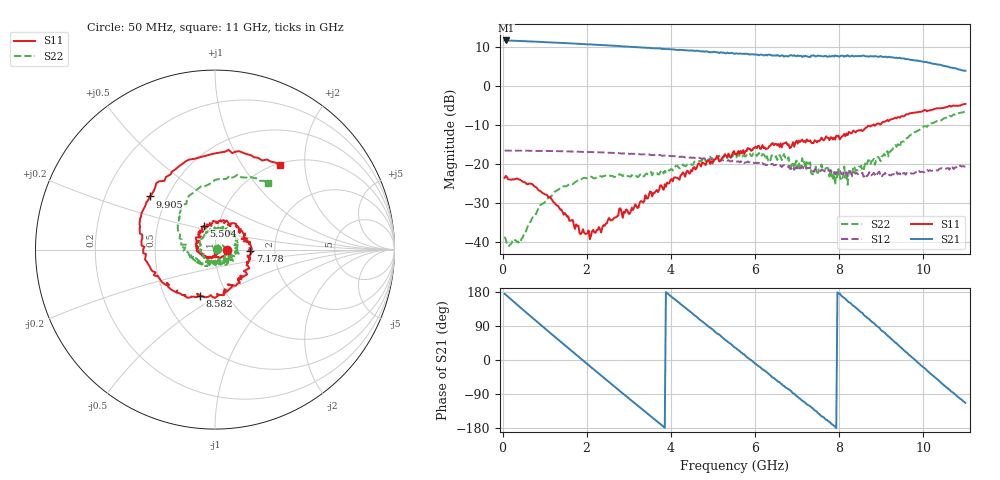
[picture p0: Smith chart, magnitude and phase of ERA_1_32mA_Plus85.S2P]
! Mini-Circuits
! S2P DATA File Format
! Type: MMIC Amplifier
! Model: ERA-1  Reference Data:RDF-960
! Note: All S Parameters are in dB deg format
! TEST CONDITIONS: INPUT POWER = -15dBm, Icc = 32mA, Vd = 3.21V @Temperature = +85degC
# MHz S DB R 50
!  FREQ  dB(S11)  PHS(S11)  dB(S21)  PHS(S21)  dB(S12)  PHS(S12)  dB(S22)  PHS(S22)
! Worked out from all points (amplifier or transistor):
!   401 points, 50 MHz to 11 GHz, reference 50 ohm
!   highest |S21| = 11.8 dB at 77 MHz (marker M1)
!   |S21| within 3 dB of that: start of sweep to 4.922 GHz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
!   unconditionally stable (mu >= 1): start of sweep to end of sweep
!   at 1.832 GHz: K = 1.24, MAG = 11.0 dB, |S12| = -16.9 dB
!   at 5.45 GHz: K = 1.82, MAG = 8.7 dB, |S12| = -19.3 dB
!   at 11 GHz: K = 1.74, MAG = 7.3 dB, |S12| = -20.6 dB
!   S11 on the Smith chart (normalised r, x): 50 MHz: 1.14, -0.01; 5.504 GHz: 0.85, +0.23; 7.178 GHz: 1.49, -0.02; 8.582 GHz: 0.74, -0.41; 9.905 GHz: 0.40, +0.30; 11 GHz: 1.04, +1.50
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50  -23.59 -2.2  11.77 174.7  -16.55 -4.3  -38.77 5.7
77  -23.11 -3.0  11.80 172.3  -16.57 -6.1  -39.45 10.5
536  -24.74 -42.5  11.63 128.1  -16.60 -39.6  -37.88 62.1
941  -27.41 -72.8  11.41 89.6  -16.66 -69.4  -30.29 53.2
1454  -33.09 -92.0  11.15 41.6  -16.76 -107.3  -25.75 23.7
1886  -37.66 -75.9  10.88 1.4  -16.88 -139.1  -23.88 -9.6
2777  -31.52 -63.2  10.33 -80.7  -17.27 154.6  -22.64 -81.7
3209  -31.38 -82.3  10.08 -119.9  -17.49 123.0  -23.38 -124.1
3722  -26.75 -109.8  9.79 -166.5  -17.73 85.3  -22.70 -167.6
4154  -23.59 -147.3  9.34 155.0  -18.20 53.0  -20.48 150.5
4667  -19.82 -176.0  9.10 108.4  -18.38 15.3  -19.30 117.7
5504  -16.70 115.0  8.36 34.3  -19.13 -47.2  -17.20 60.7
5531  -17.48 113.9  8.41 32.7  -19.31 -48.7  -17.84 56.2
6287  -16.04 56.2  7.95 -32.7  -20.22 -105.1  -18.03 9.7
7178  -14.12 -1.9  7.71 -111.6  -21.01 -166.9  -19.48 -33.8
7367  -14.64 -10.2  7.91 -127.2  -21.87 178.8  -22.50 -44.2
7961  -12.89 -56.2  7.82 178.4  -22.25 139.9  -23.66 -74.1
8582  -11.33 -108.5  7.92 119.6  -23.29 97.0  -21.78 -107.8
9203  -8.67 -160.9  7.53 59.8  -22.85 58.3  -16.90 -167.6
9905  -6.58 140.8  6.57 -9.3  -21.84 15.4  -11.28 133.7
10436  -5.63 98.0  5.41 -61.3  -21.09 -23.0  -8.73 95.1
11003  -4.54 52.3  4.02 -112.9  -20.61 -61.9  -6.53 51.4
